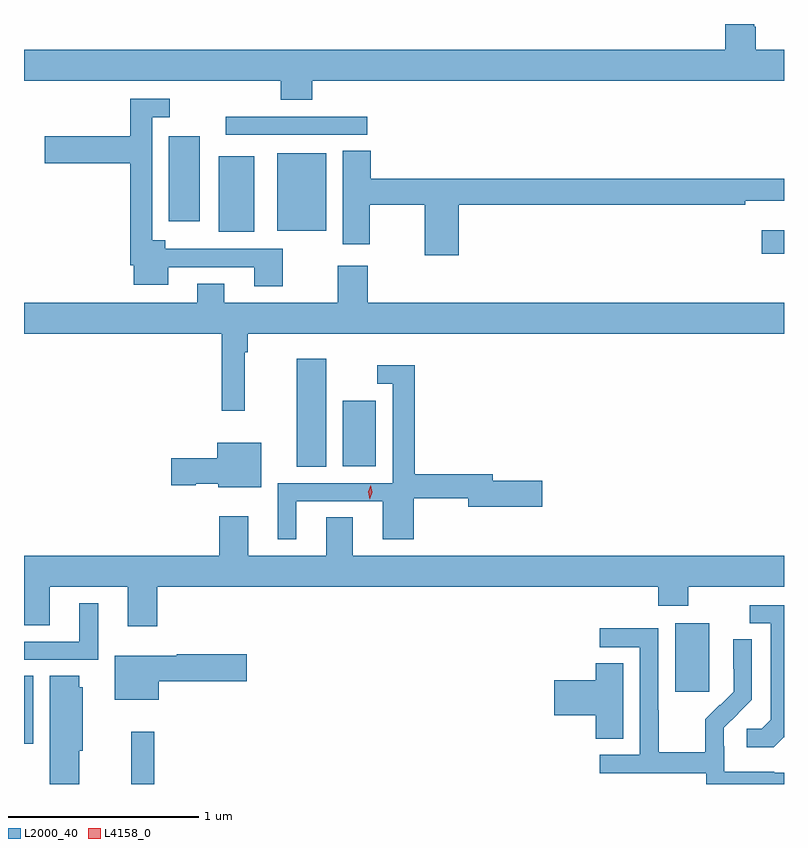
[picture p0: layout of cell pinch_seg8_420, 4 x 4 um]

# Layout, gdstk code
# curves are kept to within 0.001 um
import gdstk
lib = gdstk.Library(unit=1e-6, precision=1e-09)
def R(c, l, rs):  # rectangles x0, y0, x1, y1
    for r in rs: c.add(gdstk.rectangle(r[:2], r[2:], *l))
def P(c, l, *ps):  # polygons
    for p in ps: c.add(gdstk.Polygon(p, *l))
L2000_40 = (2000, 40)
L4158_0 = (4158, 0)

pinch_seg8_420 = lib.new_cell('pinch_seg8_420')
R(pinch_seg8_420, L2000_40, [(277.012,1127.451,277.133,1127.725), (276.448,1127.664,276.496,1128.02), (279.875,1127.937,280.054,1128.298), (277.883,1129.12,278.038,1129.69), (278.126,1129.124,278.299,1129.468), (280.332,1130.243,280.448,1130.365), (277.472,1130.357,277.66,1130.755), (277.781,1130.363,278.038,1130.77), (277.211,1130.412,277.372,1130.86), (277.509,1130.868,278.254,1130.964)])
P(pinch_seg8_420, L2000_40, [(277.964,1131.152),(280.448,1131.152),(280.448,1131.316),(280.299,1131.316),(280.299,1131.437),(280.291,1131.437),(280.291,1131.451),(280.139,1131.451),(280.139,1131.316),(276.448,1131.316),(276.448,1131.152),(277.799,1131.152),(277.799,1131.053),(277.964,1131.053)],
  [(277.809,1130.268),(277.192,1130.268),(277.192,1130.314),(277.122,1130.314),(277.122,1130.961),(277.216,1130.961),(277.216,1131.057),(277.006,1131.057),(277.006,1130.859),(276.558,1130.859),(276.558,1130.717),(277.006,1130.717),(277.006,1130.182),(277.025,1130.182),(277.025,1130.078),(277.207,1130.078),(277.207,1130.172),(277.661,1130.172),(277.661,1130.07),(277.809,1130.07)],
  [(278.735,1130.5),(280.244,1130.5),(280.244,1130.52),(280.448,1130.52),(280.448,1130.636),(278.273,1130.636),(278.273,1130.783),(278.126,1130.783),(278.126,1130.292),(278.268,1130.292),(278.268,1130.5),(278.557,1130.5),(278.557,1130.235),(278.735,1130.235)],
  [(277.501,1130.083),(277.361,1130.083),(277.361,1129.984),(276.448,1129.984),(276.448,1129.82),(277.489,1129.82),(277.489,1129.416),(277.61,1129.416),(277.61,1129.724),(277.625,1129.724),(277.625,1129.82),(280.448,1129.82),(280.448,1129.984),(278.258,1129.984),(278.258,1130.179),(278.098,1130.179),(278.098,1129.984),(277.501,1129.984)],
  [(277.882,1128.939),(278.336,1128.939),(278.336,1128.738),(278.498,1128.738),(278.498,1128.954),(278.786,1128.954),(278.786,1128.911),(279.175,1128.911),(279.175,1129.046),(278.914,1129.046),(278.914,1129.082),(278.504,1129.082),(278.504,1129.654),(278.307,1129.654),(278.307,1129.557),(278.388,1129.557),(278.388,1129.035),(277.784,1129.035),(277.784,1128.738),(277.882,1128.738)],
  [(277.696,1129.246),(277.466,1129.246),(277.466,1129.166),(277.224,1129.166),(277.224,1129.024),(277.353,1129.024),(277.353,1129.031),(277.47,1129.031),(277.47,1129.013),(277.696,1129.013)],
  [(277.148,1128.488),(279.785,1128.488),(279.785,1128.389),(279.945,1128.389),(279.945,1128.488),(280.448,1128.488),(280.448,1128.652),(278.179,1128.652),(278.179,1128.854),(278.039,1128.854),(278.039,1128.652),(277.627,1128.652),(277.627,1128.859),(277.475,1128.859),(277.475,1128.652),(276.448,1128.652),(276.448,1128.286),(276.583,1128.286),(276.583,1128.488),(276.995,1128.488),(276.995,1128.282),(277.148,1128.282)],
  [(276.838,1128.403),(276.74,1128.403),(276.74,1128.201),(276.448,1128.201),(276.448,1128.105),(276.838,1128.105)],
  [(280.446,1127.697),(280.448,1127.697),(280.448,1128.393),(280.269,1128.393),(280.269,1128.297),(280.379,1128.297),(280.379,1127.789),(280.332,1127.742),(280.251,1127.742),(280.251,1127.645),(280.394,1127.645)],
  [(280.448,1127.511),(280.397,1127.511),(280.397,1127.515),(280.134,1127.515),(280.134,1127.649),(280.132,1127.649),(280.132,1127.746),(280.278,1127.894),(280.278,1128.212),(280.182,1128.212),(280.182,1128.058),(280.184,1128.058),(280.184,1127.936),(280.113,1127.865),(280.11,1127.868),(280.033,1127.791),(280.033,1127.617),(279.789,1127.617),(279.789,1127.84),(279.786,1127.84),(279.786,1128.27),(279.477,1128.27),(279.477,1128.171),(279.69,1128.171),(279.69,1127.604),(279.477,1127.604),(279.477,1127.508),(280.038,1127.508),(280.038,1127.451),(280.448,1127.451)],
  [(277.156,1127.993),(277.621,1127.993),(277.621,1128.135),(277.252,1128.135),(277.252,1128.127),(276.926,1128.127),(276.926,1127.894),(277.156,1127.894)],
  [(279.601,1128.086),(279.458,1128.086),(279.458,1127.996),(279.24,1127.996),(279.24,1127.813),(279.458,1127.813),(279.458,1127.689),(279.601,1127.689)],
  [(276.739,1127.625),(276.757,1127.625),(276.757,1127.961),(276.739,1127.961),(276.739,1128.02),(276.584,1128.02),(276.584,1127.451),(276.739,1127.451)])
P(pinch_seg8_420, L4158_0, [(278.269,1128.951),(278.269,1128.951),(278.261,1128.988),(278.272,1129.023),(278.272,1129.023),(278.273,1129.023),(278.281,1128.987),(278.269,1128.951)])

lib.write_gds('pinch_seg8_420.gds')
